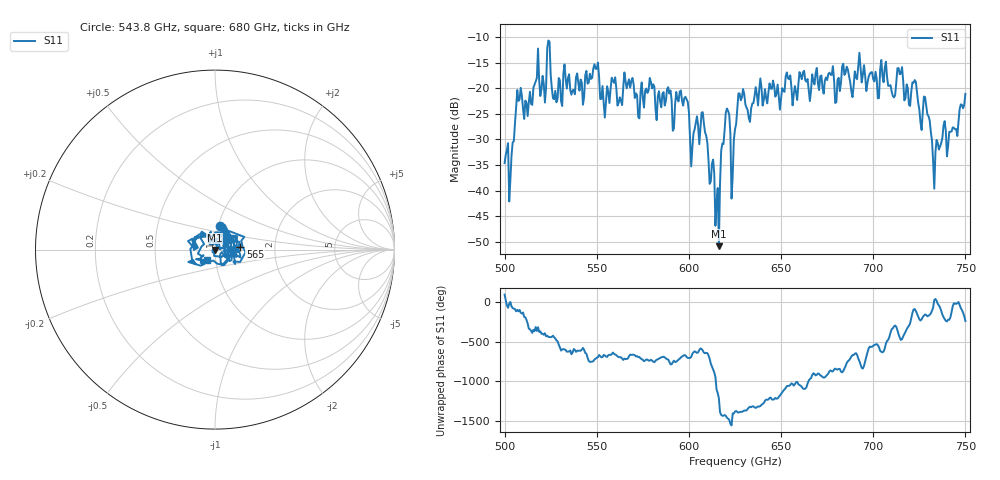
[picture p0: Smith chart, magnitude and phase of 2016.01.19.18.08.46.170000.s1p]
!Created with skrf (http://scikit-rf.org).
# GHz S RI R 50.0
!freq ReS11 ImS11
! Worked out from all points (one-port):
!   401 points, 500 GHz to 750 GHz, reference 50 ohm
!   lowest |S11| = -50.8 dB at 616.2 GHz (marker M1), VSWR 1.01, Z = 49.8 - j0.208 ohm
!   |S11| at or under -10 dB: start of sweep to end of sweep
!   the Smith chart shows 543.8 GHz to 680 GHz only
!   S11 on the Smith chart (normalised r, x): 543.8 GHz: 1.02, +0.27; 565 GHz: 1.33, +0.05; 680 GHz: 0.90, -0.10
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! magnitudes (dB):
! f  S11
! 500 GHz  -34.6
! 503.8 GHz  -33.2
! 508.1 GHz  -22.2
! 523.8 GHz  -10.7
! 526.9 GHz  -22.2
! 531.2 GHz  -23.5
! 543.8 GHz  -17.5
! 549.4 GHz  -16.2
! 553.1 GHz  -19.6
! 562.5 GHz  -21.8
! 565 GHz  -16.9
! 593.8 GHz  -22.2
! 598.8 GHz  -22.2
! 601.9 GHz  -31.5
! 608.1 GHz  -26.9
! 616.2 GHz  -50.8
! 620.6 GHz  -24.0
! 623.8 GHz  -37.1
! 625 GHz  -28.0
! 628.1 GHz  -22.4
! 656.2 GHz  -23.4
! 680 GHz  -22.7
! 687.5 GHz  -18.8
! 714.4 GHz  -17.3
! 718.8 GHz  -20.0
! 728.8 GHz  -23.4
! 733.8 GHz  -32.5
! 750 GHz  -21.1
